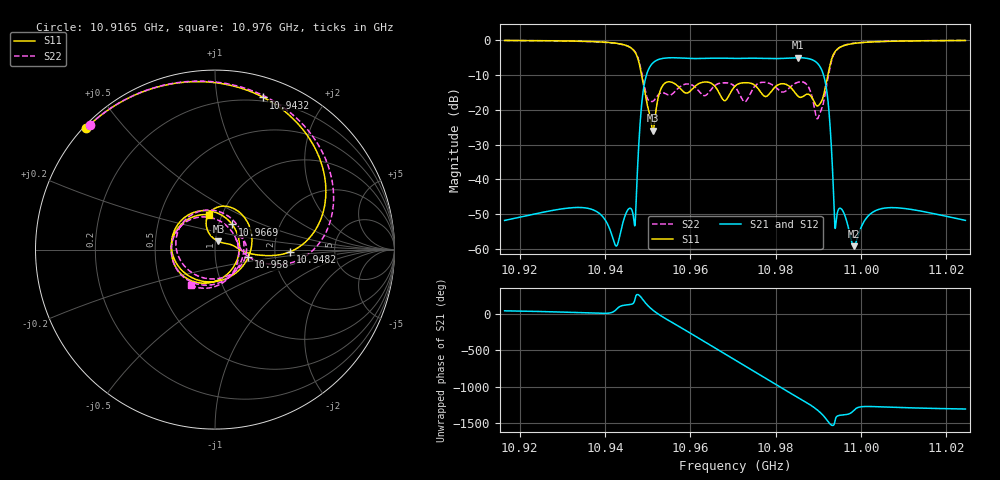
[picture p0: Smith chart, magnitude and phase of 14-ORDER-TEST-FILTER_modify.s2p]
! Created with skrf 1.9.0 (http://scikit-rf.org).
! Parameters = {f0=10970.5; bw=36.0; Q=6000.0; N=14; FILTER_NAME=14-ORDER-TEST-FILTER; f_start_mhz=10935.0; f_stop_mhz=11006.0; m_0_1=1.0428903102874756; m_1_1=-0.03645411878824234; m_1_2=0.9337330460548401; m_1_14=-0.012053543701767921; m_2_2=-0.005210923962295055; m_2_3=0.6684761047363281; m_2_13=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
# Hz S RI R 50.0
!freq ReS11 ImS11 ReS21 ImS21 ReS12 ImS12 ReS22 ImS22
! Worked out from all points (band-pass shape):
!   2001 points, 10.9165 GHz to 11.0245 GHz, reference 50 ohm
!   highest |S21| = -5.06 dB at 10.9853 GHz (marker M1); lowest = -59.2 dB at 10.9984 GHz (marker M2)
!   |S21| within 3 dB of the highest: 10.95038 GHz to 10.99061 GHz (40.24 MHz wide, 0.367 % of centre)
!   lowest |S11| = -26.0 dB at 10.9513 GHz (marker M3), VSWR 1.11, Z = 51.7 + j4.79 ohm
!   |S11| at or under -10 dB: 10.9486 GHz to 10.99227 GHz (43.67 MHz wide, 0.398 % of centre)
!   |S22| runs from -22.6 to -0.1 dB; largest |S21 - S12| = 5.8e-07
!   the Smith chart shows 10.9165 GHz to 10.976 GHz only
!   S11 on the Smith chart (normalised r, x): 10.9165 GHz: 0.01, +0.40; 10.9432 GHz: 0.17, +1.35; 10.9482 GHz: 2.44, -0.07; 10.958 GHz: 1.45, -0.12; 10.9669 GHz: 1.16, +0.33; 10.976 GHz: 0.87, +0.35
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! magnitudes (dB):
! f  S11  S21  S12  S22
! 10.9165 GHz  -0.1  -51.8  -51.8  -0.1
! 10.9345 GHz  -0.3  -48.1  -48.1  -0.4
! 10.9432 GHz  -1.0  -57.9  -57.9  -1.1
! 10.9469 GHz  -3.2  -52.7  -52.7  -3.1
! 10.9482 GHz  -7.6  -25.0  -25.0  -7.1
! 10.9494 GHz  -15.1  -11.8  -11.8  -14.0
! 10.9513 GHz  -26.0  -6.6  -6.6  -17.6
! 10.9525 GHz  -16.5  -5.6  -5.6  -15.7
! 10.958 GHz  -14.4  -5.2  -5.2  -13.1
! 10.9669 GHz  -15.4  -5.2  -5.2  -12.4
! 10.9705 GHz  -13.3  -5.3  -5.3  -13.4
! 10.9729 GHz  -12.3  -5.2  -5.2  -17.7
! 10.976 GHz  -14.1  -5.2  -5.2  -12.4
! 10.9853 GHz  -16.2  -5.1  -5.1  -12.1
! 10.9885 GHz  -16.5  -5.6  -5.6  -16.2
! 10.99 GHz  -18.9  -6.9  -6.9  -22.3
! 10.9919 GHz  -12.2  -13.6  -13.6  -13.6
! 10.9941 GHz  -3.1  -53.2  -53.2  -3.2
! 10.9957 GHz  -1.7  -48.9  -48.9  -1.7
! 10.9984 GHz  -1.0  -59.2  -59.2  -0.9
! 11.0065 GHz  -0.4  -48.1  -48.1  -0.3
! 11.0245 GHz  -0.1  -51.8  -51.8  -0.1
